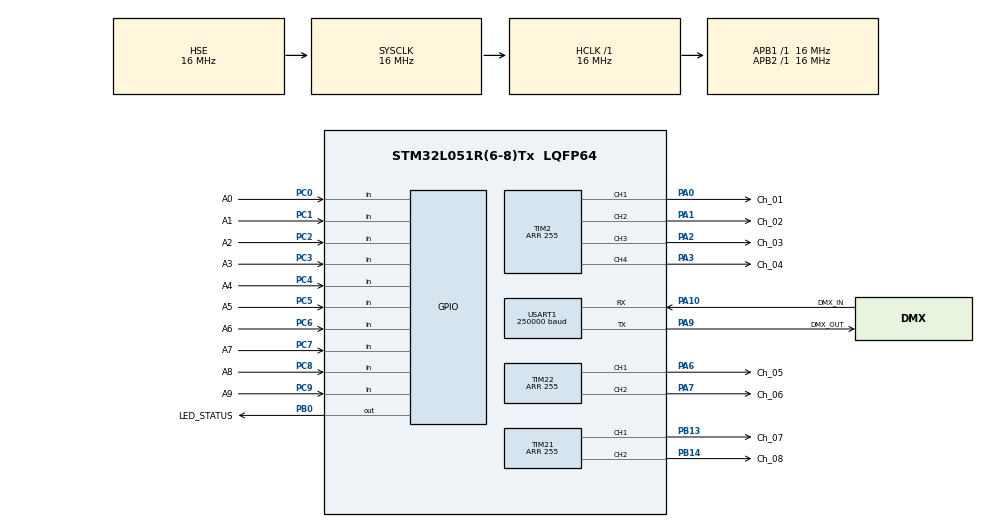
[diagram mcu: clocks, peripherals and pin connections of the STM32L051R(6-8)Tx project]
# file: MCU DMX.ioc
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Mcu.Family=STM32L0
Mcu.Name=STM32L051R(6-8)Tx
Mcu.Package=LQFP64
NVIC.FLASH_IRQn=true\:0\:0\:false\:false\:true\:true\:true
NVIC.USART1_IRQn=true\:0\:0\:false\:false\:true\:true\:true
PA0.GPIO_Label=Ch_01
PA0.Signal=S_TIM2_CH1
PA1.GPIO_Label=Ch_02
PA1.Signal=S_TIM2_CH2
PA10.GPIO_Label=DMX_IN
PA10.Mode=Asynchronous
PA10.Signal=USART1_RX
PA2.GPIO_Label=Ch_03
PA2.Signal=S_TIM2_CH3
PA3.GPIO_Label=Ch_04
PA3.Signal=S_TIM2_CH4
PA6.GPIO_Label=Ch_05
PA6.Signal=S_TIM22_CH1
PA7.GPIO_Label=Ch_06
PA7.Signal=S_TIM22_CH2
PA9.GPIO_Label=DMX_OUT
PA9.Mode=Asynchronous
PA9.Signal=USART1_TX
PB0.GPIO_Label=LED_STATUS
PB0.Signal=GPIO_Output
PB13.GPIO_Label=Ch_07
PB13.Signal=S_TIM21_CH1
PB14.GPIO_Label=Ch_08
PB14.Signal=S_TIM21_CH2
PC0.GPIO_Label=A0
PC0.Signal=GPIO_Input
PC1.GPIO_Label=A1
PC1.Signal=GPIO_Input
PC2.GPIO_Label=A2
PC2.Signal=GPIO_Input
PC3.GPIO_Label=A3
PC3.Signal=GPIO_Input
PC4.GPIO_Label=A4
PC4.Signal=GPIO_Input
PC5.GPIO_Label=A5
PC5.Signal=GPIO_Input
PC6.GPIO_Label=A6
PC6.Signal=GPIO_Input
PC7.GPIO_Label=A7
PC7.Signal=GPIO_Input
PC8.GPIO_Label=A8
PC8.Signal=GPIO_Input
PC9.GPIO_Label=A9
PC9.Signal=GPIO_Input
PH0-OSC_IN.Mode=HSE-External-Oscillator
PH0-OSC_IN.Signal=RCC_OSC_IN
PH1-OSC_OUT.Mode=HSE-External-Oscillator
PH1-OSC_OUT.Signal=RCC_OSC_OUT
ProjectManager.HeapSize=0x200
ProjectManager.StackSize=0x400
ProjectManager.TargetToolchain=STM32CubeIDE
RCC.ADCFreq_Value=16000000
RCC.AHBFreq_Value=16000000
RCC.APB1Freq_Value=16000000
RCC.APB1TimFreq_Value=16000000
RCC.APB2Freq_Value=16000000
RCC.APB2TimFreq_Value=16000000
RCC.HCLKFreq_Value=16000000
RCC.HSE_VALUE=16000000
RCC.HSI16_VALUE=16000000
RCC.HSI_VALUE=16000000
RCC.LSE_VALUE=32768
RCC.MSI_VALUE=2097000
RCC.SYSCLKFreq_VALUE=16000000
RCC.SYSCLKSource=RCC_SYSCLKSOURCE_HSE
RCC.VCOOutputFreq_Value=48000000
SH.S_TIM21_CH1.0=TIM21_CH1,PWM Generation1 CH1
SH.S_TIM21_CH2.0=TIM21_CH2,PWM Generation2 CH2
SH.S_TIM22_CH1.0=TIM22_CH1,PWM Generation1 CH1
SH.S_TIM22_CH2.0=TIM22_CH2,PWM Generation2 CH2
SH.S_TIM2_CH1.0=TIM2_CH1,PWM Generation1 CH1
SH.S_TIM2_CH2.0=TIM2_CH2,PWM Generation2 CH2
SH.S_TIM2_CH3.0=TIM2_CH3,PWM Generation3 CH3
SH.S_TIM2_CH4.0=TIM2_CH4,PWM Generation4 CH4
TIM2.Channel-PWM\ Generation1\ CH1=TIM_CHANNEL_1
TIM2.Channel-PWM\ Generation2\ CH2=TIM_CHANNEL_2
TIM2.Channel-PWM\ Generation3\ CH3=TIM_CHANNEL_3
TIM2.Channel-PWM\ Generation4\ CH4=TIM_CHANNEL_4
TIM2.Period=255
TIM21.Channel-PWM\ Generation1\ CH1=TIM_CHANNEL_1
TIM21.Channel-PWM\ Generation2\ CH2=TIM_CHANNEL_2
TIM21.Period=255
TIM22.Channel-PWM\ Generation1\ CH1=TIM_CHANNEL_1
TIM22.Channel-PWM\ Generation2\ CH2=TIM_CHANNEL_2
TIM22.Period=255
USART1.AutoBaudRateEnableParam=UART_ADVFEATURE_AUTOBAUDRATE_DISABLE
USART1.BaudRate=250000
USART1.Mode=MODE_TX_RX
USART1.OverSampling=UART_OVERSAMPLING_16
USART1.StopBits=STOPBITS_2
USART1.VirtualMode-Asynchronous=VM_ASYNC
USART1.WordLength=WORDLENGTH_8B
VP_TIM21_VS_ClockSourceINT.Mode=Internal
VP_TIM22_VS_ClockSourceINT.Mode=Internal
VP_TIM2_VS_ClockSourceINT.Mode=Internal
board=custom

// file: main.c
/* USER CODE BEGIN Header */
/**
  ******************************************************************************
  * @file           : main.c
  * @brief          : Main program body
  ******************************************************************************
  * @attention
  *
  * <h2><center>&copy; Copyright (c) 2019 STMicroelectronics.
  * All rights reserved.</center></h2>
  *
  * This software component is licensed by ST under BSD 3-Clause license,
  * the "License"; You may not use this file except in compliance with the
  * License. You may obtain a copy of the License at:
  *                        opensource.org/licenses/BSD-3-Clause
  *
  ******************************************************************************
  */
/* USER CODE END Header */

#include "main.h"

/* USER CODE BEGIN PD */
#define	Set_Ch_01(x)	TIM2->CCR1   = x;
#define	Set_Ch_02(x)	TIM2->CCR2   = x;
#define	Set_Ch_03(x)	TIM2->CCR3   = x;
#define	Set_Ch_04(x)	TIM2->CCR4   = x;
#define	Set_Ch_05(x)	TIM22->CCR1  = x;
#define	Set_Ch_06(x)	TIM22->CCR2  = x;
#define	Set_Ch_07(x)	TIM21->CCR1  = x;
#define	Set_Ch_08(x)	TIM21->CCR2  = x;

#define	NOT_READY	0
#define READY 		1

#define Num_Ch_1	1
#define Num_Ch_2	2
#define Num_Ch_3	3
#define Num_Ch_4	4
#define Num_Ch_5	5
#define Num_Ch_6	6
#define Num_Ch_7	7
#define Num_Ch_8	8

#define DMX			0
#define CONFIG		1

/* USER CODE END PD */

TIM_HandleTypeDef htim2;
TIM_HandleTypeDef htim21;
TIM_HandleTypeDef htim22;

UART_HandleTypeDef huart1;

void SystemClock_Config(void);
static void MX_GPIO_Init(void);
static void MX_TIM2_Init(void);
static void MX_TIM21_Init(void);
static void MX_TIM22_Init(void);
static void MX_USART1_UART_Init(void);
/* USER CODE BEGIN PFP */
void DMX_Clear();
int GetAddress();
/* USER CODE END PFP */

/* USER CODE BEGIN 0 */
	uint8_t dmx[513];
	uint8_t data[1] = {0};

	int address = 1;
	int BreakFlag = 0;
	int DMX_Mode = DMX;
	int DMX_Ch = 0;
	int DMX_State = NOT_READY;
	int DMX_Break_State = NOT_READY;
	int Num_Ch = Num_Ch_4;

/* USER CODE END 0 */

int main(void)
{

  /* MCU Configuration--------------------------------------------------------*/

  /* Reset of all peripherals, Initializes the Flash interface and the Systick. */
  HAL_Init();

  /* Configure the system clock */
  SystemClock_Config();

  /* Initialize all configured peripherals */
  MX_GPIO_Init();
  MX_TIM2_Init();
  MX_TIM21_Init();
  MX_TIM22_Init();
  MX_USART1_UART_Init();
  /* USER CODE BEGIN 2 */
    HAL_UART_Receive_IT(&huart1, data, sizeof(data));

  	HAL_TIM_PWM_Start(&htim2, TIM_CHANNEL_1);
  	HAL_TIM_PWM_Start(&htim2, TIM_CHANNEL_2);
  	HAL_TIM_PWM_Start(&htim2, TIM_CHANNEL_3);
  	HAL_TIM_PWM_Start(&htim2, TIM_CHANNEL_4);
  	HAL_TIM_PWM_Start(&htim21, TIM_CHANNEL_1);
  	HAL_TIM_PWM_Start(&htim21, TIM_CHANNEL_2);
  	HAL_TIM_PWM_Start(&htim22, TIM_CHANNEL_1);
  	HAL_TIM_PWM_Start(&htim22, TIM_CHANNEL_2);

  	DMX_Clear();
  	Set_Ch_01(5);
  	Set_Ch_02(5);
  	Set_Ch_03(5);
  	Set_Ch_04(5);
  	Set_Ch_05(5);
  	Set_Ch_06(5);
  	Set_Ch_07(5)
  	Set_Ch_08(5);

  	HAL_GPIO_WritePin(LED_STATUS_GPIO_Port, LED_STATUS_Pin, GPIO_PIN_SET);
  	HAL_Delay(100);
  	HAL_GPIO_WritePin(LED_STATUS_GPIO_Port, LED_STATUS_Pin, GPIO_PIN_RESET);
  	HAL_Delay(100);

  	HAL_GPIO_WritePin(LED_STATUS_GPIO_Port, LED_STATUS_Pin, GPIO_PIN_SET);
	HAL_Delay(100);
	HAL_GPIO_WritePin(LED_STATUS_GPIO_Port, LED_STATUS_Pin, GPIO_PIN_RESET);
	HAL_Delay(100);

	HAL_GPIO_WritePin(LED_STATUS_GPIO_Port, LED_STATUS_Pin, GPIO_PIN_SET);
	HAL_Delay(100);
	HAL_GPIO_WritePin(LED_STATUS_GPIO_Port, LED_STATUS_Pin, GPIO_PIN_RESET);
	HAL_Delay(100);

  /* USER CODE END 2 */

  /* Infinite loop */
    while (1)
    {

    /* USER CODE BEGIN 3 */
	if(DMX_State == READY){
		address = GetAddress();
		Set_Ch_01(dmx[address + 0]);
		Set_Ch_02(dmx[address + 1]);
		Set_Ch_03(dmx[address + 2]);
		Set_Ch_04(dmx[address + 3]);
		Set_Ch_05(dmx[address + 4]);
		Set_Ch_06(dmx[address + 5]);
		Set_Ch_07(dmx[address + 6]);
		Set_Ch_08(dmx[address + 7]);
	   }
  }
  /* USER CODE END 3 */
}

void SystemClock_Config(void)
{
  RCC_OscInitTypeDef RCC_OscInitStruct = {0};
  RCC_ClkInitTypeDef RCC_ClkInitStruct = {0};
  RCC_PeriphCLKInitTypeDef PeriphClkInit = {0};

  /** Configure the main internal regulator output voltage
  */
  __HAL_PWR_VOLTAGESCALING_CONFIG(PWR_REGULATOR_VOLTAGE_SCALE1);
  /** Initializes the CPU, AHB and APB busses clocks
  */
  RCC_OscInitStruct.OscillatorType = RCC_OSCILLATORTYPE_HSE;
  RCC_OscInitStruct.HSEState = RCC_HSE_ON;
  RCC_OscInitStruct.PLL.PLLState = RCC_PLL_NONE;
  if (HAL_RCC_OscConfig(&RCC_OscInitStruct) != HAL_OK)
  {
    Error_Handler();
  }
  /** Initializes the CPU, AHB and APB busses clocks
  */
  RCC_ClkInitStruct.ClockType = RCC_CLOCKTYPE_HCLK|RCC_CLOCKTYPE_SYSCLK
                              |RCC_CLOCKTYPE_PCLK1|RCC_CLOCKTYPE_PCLK2;
  RCC_ClkInitStruct.SYSCLKSource = RCC_SYSCLKSOURCE_HSE;
  RCC_ClkInitStruct.AHBCLKDivider = RCC_SYSCLK_DIV1;
  RCC_ClkInitStruct.APB1CLKDivider = RCC_HCLK_DIV1;
  RCC_ClkInitStruct.APB2CLKDivider = RCC_HCLK_DIV1;

  if (HAL_RCC_ClockConfig(&RCC_ClkInitStruct, FLASH_LATENCY_0) != HAL_OK)
  {
    Error_Handler();
  }
  PeriphClkInit.PeriphClockSelection = RCC_PERIPHCLK_USART1;
  PeriphClkInit.Usart1ClockSelection = RCC_USART1CLKSOURCE_PCLK2;
  if (HAL_RCCEx_PeriphCLKConfig(&PeriphClkInit) != HAL_OK)
  {
    Error_Handler();
  }
}

static void MX_TIM2_Init(void)
{

  TIM_ClockConfigTypeDef sClockSourceConfig = {0};
  TIM_MasterConfigTypeDef sMasterConfig = {0};
  TIM_OC_InitTypeDef sConfigOC = {0};

  htim2.Instance = TIM2;
  htim2.Init.Prescaler = 7;
  htim2.Init.CounterMode = TIM_COUNTERMODE_UP;
  htim2.Init.Period = 255;
  htim2.Init.ClockDivision = TIM_CLOCKDIVISION_DIV1;
  htim2.Init.AutoReloadPreload = TIM_AUTORELOAD_PRELOAD_DISABLE;
  if (HAL_TIM_Base_Init(&htim2) != HAL_OK)
  {
    Error_Handler();
  }
  sClockSourceConfig.ClockSource = TIM_CLOCKSOURCE_INTERNAL;
  if (HAL_TIM_ConfigClockSource(&htim2, &sClockSourceConfig) != HAL_OK)
  {
    Error_Handler();
  }
  if (HAL_TIM_PWM_Init(&htim2) != HAL_OK)
  {
    Error_Handler();
  }
  sMasterConfig.MasterOutputTrigger = TIM_TRGO_RESET;
  sMasterConfig.MasterSlaveMode = TIM_MASTERSLAVEMODE_DISABLE;
  if (HAL_TIMEx_MasterConfigSynchronization(&htim2, &sMasterConfig) != HAL_OK)
  {
    Error_Handler();
  }
  sConfigOC.OCMode = TIM_OCMODE_PWM1;
  sConfigOC.Pulse = 0;
  sConfigOC.OCPolarity = TIM_OCPOLARITY_HIGH;
  sConfigOC.OCFastMode = TIM_OCFAST_DISABLE;
  if (HAL_TIM_PWM_ConfigChannel(&htim2, &sConfigOC, TIM_CHANNEL_1) != HAL_OK)
  {
    Error_Handler();
  }
  if (HAL_TIM_PWM_ConfigChannel(&htim2, &sConfigOC, TIM_CHANNEL_2) != HAL_OK)
  {
    Error_Handler();
  }
  if (HAL_TIM_PWM_ConfigChannel(&htim2, &sConfigOC, TIM_CHANNEL_3) != HAL_OK)
  {
    Error_Handler();
  }
  if (HAL_TIM_PWM_ConfigChannel(&htim2, &sConfigOC, TIM_CHANNEL_4) != HAL_OK)
  {
    Error_Handler();
  }
  HAL_TIM_MspPostInit(&htim2);

}

static void MX_TIM21_Init(void)
{

  TIM_ClockConfigTypeDef sClockSourceConfig = {0};
  TIM_MasterConfigTypeDef sMasterConfig = {0};
  TIM_OC_InitTypeDef sConfigOC = {0};

  htim21.Instance = TIM21;
  htim21.Init.Prescaler = 7;
  htim21.Init.CounterMode = TIM_COUNTERMODE_UP;
  htim21.Init.Period = 255;
  htim21.Init.ClockDivision = TIM_CLOCKDIVISION_DIV1;
  htim21.Init.AutoReloadPreload = TIM_AUTORELOAD_PRELOAD_DISABLE;
  if (HAL_TIM_Base_Init(&htim21) != HAL_OK)
  {
    Error_Handler();
  }
  sClockSourceConfig.ClockSource = TIM_CLOCKSOURCE_INTERNAL;
  if (HAL_TIM_ConfigClockSource(&htim21, &sClockSourceConfig) != HAL_OK)
  {
    Error_Handler();
  }
  if (HAL_TIM_PWM_Init(&htim21) != HAL_OK)
  {
    Error_Handler();
  }
  sMasterConfig.MasterOutputTrigger = TIM_TRGO_RESET;
  sMasterConfig.MasterSlaveMode = TIM_MASTERSLAVEMODE_DISABLE;
  if (HAL_TIMEx_MasterConfigSynchronization(&htim21, &sMasterConfig) != HAL_OK)
  {
    Error_Handler();
  }
  sConfigOC.OCMode = TIM_OCMODE_PWM1;
  sConfigOC.Pulse = 0;
  sConfigOC.OCPolarity = TIM_OCPOLARITY_HIGH;
  sConfigOC.OCFastMode = TIM_OCFAST_DISABLE;
  if (HAL_TIM_PWM_ConfigChannel(&htim21, &sConfigOC, TIM_CHANNEL_1) != HAL_OK)
  {
    Error_Handler();
  }
  if (HAL_TIM_PWM_ConfigChannel(&htim21, &sConfigOC, TIM_CHANNEL_2) != HAL_OK)
  {
    Error_Handler();
  }
  HAL_TIM_MspPostInit(&htim21);

}

static void MX_TIM22_Init(void)
{

  TIM_ClockConfigTypeDef sClockSourceConfig = {0};
  TIM_MasterConfigTypeDef sMasterConfig = {0};
  TIM_OC_InitTypeDef sConfigOC = {0};

  htim22.Instance = TIM22;
  htim22.Init.Prescaler = 7;
  htim22.Init.CounterMode = TIM_COUNTERMODE_UP;
  htim22.Init.Period = 255;
  htim22.Init.ClockDivision = TIM_CLOCKDIVISION_DIV1;
  htim22.Init.AutoReloadPreload = TIM_AUTORELOAD_PRELOAD_DISABLE;
  if (HAL_TIM_Base_Init(&htim22) != HAL_OK)
  {
    Error_Handler();
  }
  sClockSourceConfig.ClockSource = TIM_CLOCKSOURCE_INTERNAL;
  if (HAL_TIM_ConfigClockSource(&htim22, &sClockSourceConfig) != HAL_OK)
  {
    Error_Handler();
  }
  if (HAL_TIM_PWM_Init(&htim22) != HAL_OK)
  {
    Error_Handler();
  }
  sMasterConfig.MasterOutputTrigger = TIM_TRGO_RESET;
  sMasterConfig.MasterSlaveMode = TIM_MASTERSLAVEMODE_DISABLE;
  if (HAL_TIMEx_MasterConfigSynchronization(&htim22, &sMasterConfig) != HAL_OK)
  {
    Error_Handler();
  }
  sConfigOC.OCMode = TIM_OCMODE_PWM1;
  sConfigOC.Pulse = 0;
  sConfigOC.OCPolarity = TIM_OCPOLARITY_HIGH;
  sConfigOC.OCFastMode = TIM_OCFAST_DISABLE;
  if (HAL_TIM_PWM_ConfigChannel(&htim22, &sConfigOC, TIM_CHANNEL_1) != HAL_OK)
  {
    Error_Handler();
  }
  if (HAL_TIM_PWM_ConfigChannel(&htim22, &sConfigOC, TIM_CHANNEL_2) != HAL_OK)
  {
    Error_Handler();
  }
  HAL_TIM_MspPostInit(&htim22);

}

static void MX_USART1_UART_Init(void)
{

  huart1.Instance = USART1;
  huart1.Init.BaudRate = 250000;
  huart1.Init.WordLength = UART_WORDLENGTH_8B;
  huart1.Init.StopBits = UART_STOPBITS_2;
  huart1.Init.Parity = UART_PARITY_NONE;
  huart1.Init.Mode = UART_MODE_TX_RX;
  huart1.Init.HwFlowCtl = UART_HWCONTROL_NONE;
  huart1.Init.OverSampling = UART_OVERSAMPLING_16;
  huart1.Init.OneBitSampling = UART_ONE_BIT_SAMPLE_DISABLE;
  huart1.AdvancedInit.AdvFeatureInit = UART_ADVFEATURE_NO_INIT;
  if (HAL_UART_Init(&huart1) != HAL_OK)
  {
    Error_Handler();
  }

}

static void MX_GPIO_Init(void)
{
  GPIO_InitTypeDef GPIO_InitStruct = {0};

  /* GPIO Ports Clock Enable */
  __HAL_RCC_GPIOH_CLK_ENABLE();
  __HAL_RCC_GPIOC_CLK_ENABLE();
  __HAL_RCC_GPIOA_CLK_ENABLE();
  __HAL_RCC_GPIOB_CLK_ENABLE();

  /*Configure GPIO pin Output Level */
  HAL_GPIO_WritePin(LED_STATUS_GPIO_Port, LED_STATUS_Pin, GPIO_PIN_RESET);

  /*Configure GPIO pins : A0_Pin A1_Pin A2_Pin A3_Pin
                           A4_Pin A5_Pin A6_Pin A7_Pin
                           A8_Pin A9_Pin */
  GPIO_InitStruct.Pin = A0_Pin|A1_Pin|A2_Pin|A3_Pin
                          |A4_Pin|A5_Pin|A6_Pin|A7_Pin
                          |A8_Pin|A9_Pin;
  GPIO_InitStruct.Mode = GPIO_MODE_INPUT;
  GPIO_InitStruct.Pull = GPIO_NOPULL;
  HAL_GPIO_Init(GPIOC, &GPIO_InitStruct);

  /*Configure GPIO pin : LED_STATUS_Pin */
  GPIO_InitStruct.Pin = LED_STATUS_Pin;
  GPIO_InitStruct.Mode = GPIO_MODE_OUTPUT_PP;
  GPIO_InitStruct.Pull = GPIO_NOPULL;
  GPIO_InitStruct.Speed = GPIO_SPEED_FREQ_LOW;
  HAL_GPIO_Init(LED_STATUS_GPIO_Port, &GPIO_InitStruct);

}

/* USER CODE BEGIN 4 */
void HAL_GPIO_EXTI_Callback(uint16_t GPIO_Pin){
	if(DMX_Mode == CONFIG){
		DMX_Mode = DMX;
	}else if (address == 0){
		DMX_Mode = CONFIG;
	}
}

void HAL_UART_RxCpltCallback(UART_HandleTypeDef *huart){
    if (DMX_Break_State == READY && data[0]==0){
    	DMX_Break_State = NOT_READY;
    	DMX_State = READY;
    }

	if(DMX_State == READY){
		dmx[DMX_Ch++] = data[0];
		if(DMX_Ch==512){
			DMX_State = NOT_READY;
		}
	}

    HAL_UART_Receive_IT(&huart1, data, 1);
}

void HAL_UART_ErrorCallback(UART_HandleTypeDef *huart){
	HAL_UART_Receive_IT(&huart1, data, 1);
	DMX_State = NOT_READY;
	DMX_Break_State = READY;
	DMX_Ch=0;
}

void DMX_Clear(){
	for(int i=0; i<=512;i++){
		dmx[i] = 0;
	}
}

int GetAddress(){
	int x;
	x = HAL_GPIO_ReadPin(A0_GPIO_Port, A0_Pin)*1
	  + HAL_GPIO_ReadPin(A1_GPIO_Port, A1_Pin)*2
	  + HAL_GPIO_ReadPin(A2_GPIO_Port, A2_Pin)*4
	  + HAL_GPIO_ReadPin(A3_GPIO_Port, A3_Pin)*8
	  + HAL_GPIO_ReadPin(A4_GPIO_Port, A4_Pin)*16
	  + HAL_GPIO_ReadPin(A5_GPIO_Port, A5_Pin)*32
	  + HAL_GPIO_ReadPin(A6_GPIO_Port, A6_Pin)*64
	  + HAL_GPIO_ReadPin(A7_GPIO_Port, A7_Pin)*128
	  + HAL_GPIO_ReadPin(A8_GPIO_Port, A8_Pin)*256
	  + HAL_GPIO_ReadPin(A9_GPIO_Port, A9_Pin)*512;

	if(x == 0 || x > 512){
		x=1;
	}

	return x;
}

/* USER CODE END 4 */

void Error_Handler(void)
{
}

/************************ (C) COPYRIGHT STMicroelectronics *****END OF FILE****/
